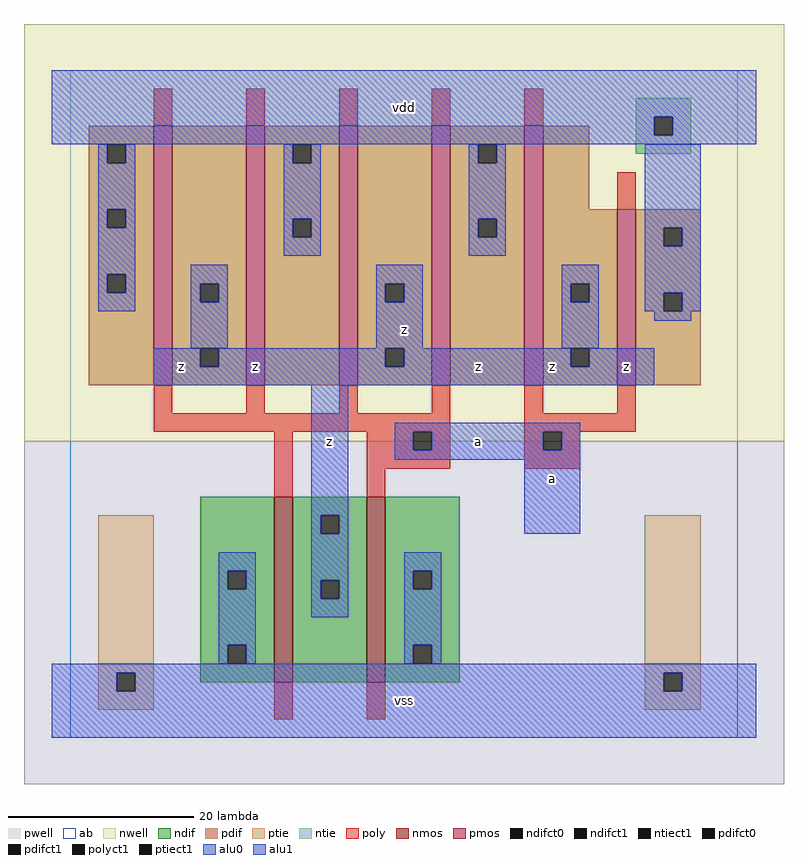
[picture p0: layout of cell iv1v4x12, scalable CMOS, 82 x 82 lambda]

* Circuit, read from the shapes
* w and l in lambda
.subckt iv1v4x12 a vdd vss z
M1 z a vss vss nfet w=20 l=2 m=2
M2 z a vdd vdd pfet w=28 l=2 m=5
M3 vdd a z vdd pfet w=19 l=2
.ends

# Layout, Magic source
magic
tech scmos
<< ab >>
rect 0 0 72 72
<< nwell >>
rect -5 32 77 77
<< pwell >>
rect -5 -5 77 32
<< poly >>
rect 9 66 11 70
rect 19 66 21 70
rect 29 66 31 70
rect 39 66 41 70
rect 49 66 51 70
rect 59 57 61 61
rect 9 35 11 38
rect 19 35 21 38
rect 29 35 31 38
rect 39 35 41 38
rect 9 33 41 35
rect 22 26 24 33
rect 32 31 37 33
rect 39 31 41 33
rect 32 29 41 31
rect 49 35 51 38
rect 59 35 61 38
rect 49 33 61 35
rect 49 31 51 33
rect 53 31 55 33
rect 49 29 55 31
rect 32 26 34 29
rect 22 2 24 6
rect 32 2 34 6
<< ndif >>
rect 14 18 22 26
rect 14 16 17 18
rect 19 16 22 18
rect 14 10 22 16
rect 14 8 17 10
rect 19 8 22 10
rect 14 6 22 8
rect 24 24 32 26
rect 24 22 27 24
rect 29 22 32 24
rect 24 17 32 22
rect 24 15 27 17
rect 29 15 32 17
rect 24 6 32 15
rect 34 18 42 26
rect 34 16 37 18
rect 39 16 42 18
rect 34 10 42 16
rect 34 8 37 10
rect 39 8 42 10
rect 34 6 42 8
<< pdif >>
rect 2 64 9 66
rect 2 62 4 64
rect 6 62 9 64
rect 2 57 9 62
rect 2 55 4 57
rect 6 55 9 57
rect 2 50 9 55
rect 2 48 4 50
rect 6 48 9 50
rect 2 38 9 48
rect 11 49 19 66
rect 11 47 14 49
rect 16 47 19 49
rect 11 42 19 47
rect 11 40 14 42
rect 16 40 19 42
rect 11 38 19 40
rect 21 64 29 66
rect 21 62 24 64
rect 26 62 29 64
rect 21 56 29 62
rect 21 54 24 56
rect 26 54 29 56
rect 21 38 29 54
rect 31 49 39 66
rect 31 47 34 49
rect 36 47 39 49
rect 31 42 39 47
rect 31 40 34 42
rect 36 40 39 42
rect 31 38 39 40
rect 41 64 49 66
rect 41 62 44 64
rect 46 62 49 64
rect 41 56 49 62
rect 41 54 44 56
rect 46 54 49 56
rect 41 38 49 54
rect 51 57 56 66
rect 51 49 59 57
rect 51 47 54 49
rect 56 47 59 49
rect 51 42 59 47
rect 51 40 54 42
rect 56 40 59 42
rect 51 38 59 40
rect 61 55 68 57
rect 61 53 64 55
rect 66 53 68 55
rect 61 48 68 53
rect 61 46 64 48
rect 66 46 68 48
rect 61 38 68 46
<< alu1 >>
rect -2 67 74 72
rect -2 65 63 67
rect 65 65 74 67
rect -2 64 74 65
rect 33 49 38 51
rect 33 47 34 49
rect 36 47 38 49
rect 33 42 38 47
rect 9 40 14 42
rect 16 40 34 42
rect 36 40 54 42
rect 56 40 63 42
rect 9 38 63 40
rect 26 24 30 38
rect 35 33 55 34
rect 35 31 37 33
rect 39 31 51 33
rect 53 31 55 33
rect 35 30 55 31
rect 26 22 27 24
rect 29 22 30 24
rect 49 22 55 30
rect 26 17 30 22
rect 26 15 27 17
rect 29 15 30 17
rect 26 13 30 15
rect -2 7 74 8
rect -2 5 5 7
rect 7 5 64 7
rect 66 5 74 7
rect -2 0 74 5
<< ptie >>
rect 3 7 9 24
rect 3 5 5 7
rect 7 5 9 7
rect 62 7 68 24
rect 3 3 9 5
rect 62 5 64 7
rect 66 5 68 7
rect 62 3 68 5
<< ntie >>
rect 61 67 67 69
rect 61 65 63 67
rect 65 65 67 67
rect 61 63 67 65
<< nmos >>
rect 22 6 24 26
rect 32 6 34 26
<< pmos >>
rect 9 38 11 66
rect 19 38 21 66
rect 29 38 31 66
rect 39 38 41 66
rect 49 38 51 66
rect 59 38 61 57
<< polyct1 >>
rect 37 31 39 33
rect 51 31 53 33
<< ndifct0 >>
rect 17 16 19 18
rect 17 8 19 10
rect 37 16 39 18
rect 37 8 39 10
<< ndifct1 >>
rect 27 22 29 24
rect 27 15 29 17
<< ntiect1 >>
rect 63 65 65 67
<< ptiect1 >>
rect 5 5 7 7
rect 64 5 66 7
<< pdifct0 >>
rect 4 62 6 64
rect 4 55 6 57
rect 4 48 6 50
rect 14 47 16 49
rect 24 62 26 64
rect 24 54 26 56
rect 44 62 46 64
rect 44 54 46 56
rect 54 47 56 49
rect 64 53 66 55
rect 64 46 66 48
<< pdifct1 >>
rect 14 40 16 42
rect 34 47 36 49
rect 34 40 36 42
rect 54 40 56 42
<< alu0 >>
rect 3 62 4 64
rect 6 62 7 64
rect 3 57 7 62
rect 3 55 4 57
rect 6 55 7 57
rect 3 50 7 55
rect 23 62 24 64
rect 26 62 27 64
rect 23 56 27 62
rect 23 54 24 56
rect 26 54 27 56
rect 23 52 27 54
rect 43 62 44 64
rect 46 62 47 64
rect 43 56 47 62
rect 43 54 44 56
rect 46 54 47 56
rect 43 52 47 54
rect 62 55 68 64
rect 62 53 64 55
rect 66 53 68 55
rect 3 48 4 50
rect 6 48 7 50
rect 3 46 7 48
rect 13 49 17 51
rect 13 47 14 49
rect 16 47 17 49
rect 13 42 17 47
rect 53 49 57 51
rect 53 47 54 49
rect 56 47 57 49
rect 53 42 57 47
rect 62 48 68 53
rect 62 46 64 48
rect 66 46 68 48
rect 63 45 67 46
rect 16 18 20 20
rect 16 16 17 18
rect 19 16 20 18
rect 16 10 20 16
rect 36 18 40 20
rect 36 16 37 18
rect 39 16 40 18
rect 16 8 17 10
rect 19 8 20 10
rect 36 10 40 16
rect 36 8 37 10
rect 39 8 40 10
<< labels >>
rlabel alu1 12 40 12 40 6 z
rlabel alu1 28 32 28 32 6 z
rlabel alu1 20 40 20 40 6 z
rlabel alu1 36 4 36 4 6 vss
rlabel alu1 44 32 44 32 6 a
rlabel alu1 52 28 52 28 6 a
rlabel alu1 44 40 44 40 6 z
rlabel alu1 52 40 52 40 6 z
rlabel alu1 36 44 36 44 6 z
rlabel alu1 36 68 36 68 6 vdd
rlabel alu1 60 40 60 40 6 z
<< end >>
